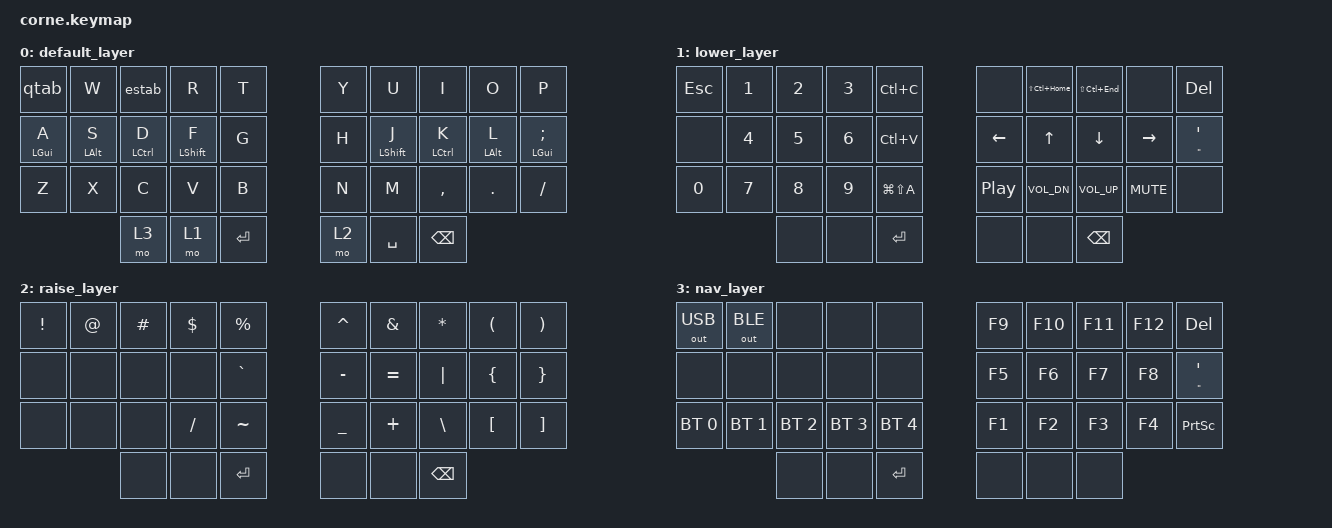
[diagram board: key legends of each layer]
#include <behaviors.dtsi>
#include <dt-bindings/zmk/keys.h>
#include <dt-bindings/zmk/bt.h>
#include <dt-bindings/zmk/outputs.h>


&mt {
    tapping-term-ms = <400>;
    retro-tap;
};

/ {
        combos {
            compatible = "zmk,combos";
            combo_btclr {
                timeout-ms = <500>;
                key-positions = <2 3 4>;
                bindings = <&bt BT_CLR>;
            };
            combo_tab {
                timeout-ms = <50>;
                key-positions = <0 1>;
                bindings = <&kp TAB>;
            };
            combo_bksp {
                timeout-ms = <30>;
                key-positions = <8 9>;
                bindings = <&kp BKSP>;
                slow-release;
            };
        };
        behaviors {
            hm: homerow_mods {
                compatible = "zmk,behavior-hold-tap";
                label = "HOMEROW_MODS";
                #binding-cells = <2>;
                tapping-term-ms = <300>;
                quick_tap_ms = <0>;
                flavor = "tap-preferred";
                bindings = <&kp>, <&kp>;
            };
            qtab: qtab_mod {
                compatible = "zmk,behavior-mod-morph";
                label = "qtab";
                #binding-cells = <0>;
                bindings = <&kp Q>, <&kp LS(TAB)>;
                mods = <(MOD_LALT)>;
            };
            estab: estab_mod {
                compatible = "zmk,behavior-mod-morph";
                label = "estab";
                #binding-cells = <0>;
                bindings = <&kp E>, <&kp TAB>;
                mods = <(MOD_LALT)>;
            };
        };
        keymap {
                compatible = "zmk,keymap";

                default_layer {
// -----------------------------------------------------------------------------------------
// |  Q  |  W  |  E  |  R  |  T  |   |  Y  |  U   |  I  |  O  |  P  |
// |  A  |  S  |  D  |  F  |  G  |   |  H  |  J   |  K  |  L  |  ;  |
// |  Z  |  X  |  C  |  V  |  B  |   |  N  |  M   |  ,  |  .  |  /  |
//                    | ALT | LWR | ENT |   | RSE | SPC  | GUI |
                        bindings = <
   &qtab      &kp W      &estab      &kp R        &kp T        &kp Y  &kp U       &kp I       &kp O        &kp P    
   &hm LGUI A &hm LALT S &hm LCTRL D &hm LSHFT F  &kp G        &kp H  &hm LSHFT J &hm LCTRL K &hm LALT L   &hm LGUI SEMI
   &kp Z      &kp X      &kp C       &kp V        &kp B        &kp N  &kp M       &kp COMMA   &kp DOT      &kp FSLH 
                                  &mo 3  &mo 1  &kp RET        &mo 2 &kp SPACE &kp BSPC
                        >;
                };

                lower_layer {
// -----------------------------------------------------------------------------------------
// |  Q  |  W  |  E  |  R  |  T  |   |  Y  |  U   |  I  |  O  |  P  |
// |  A  |  S  |  D  |  F  |  G  |   |  H  |  J   |  K  |  L  |  ;  |
// |  Z  |  X  |  C  |  V  |  B  |   |  N  |  M   |  ,  |  .  |  /  |
//                    | ALT | LWR | ENT |   | RSE | SPC  | GUI |
                        bindings = <
   &kp ESC &kp N1  &kp N2  &kp N3 &kp LC(C)           &none     &kp LS(LC(HOME))  &kp LS(LC(END))   &none        &kp DEL
   &none   &kp N4  &kp N5  &kp N6 &kp LC(V)           &kp LEFT  &kp UP            &kp DOWN          &kp RIGHT    &hm DQT SQT 
   &kp N0  &kp N7  &kp N8  &kp N9 &kp LG(LS(A))       &kp C_PP  &kp C_VOL_DN      &kp C_VOL_UP      &kp C_MUTE   &none
                      &none  &none  &kp RET           &none  &none  &kp BSPC 
                        >;
                };

                raise_layer {
// -----------------------------------------------------------------------------------------
// |  Q  |  W  |  E  |  R  |  T  |   |  Y  |  U   |  I  |  O  |  P  |
// |  A  |  S  |  D  |  F  |  G  |   |  H  |  J   |  K  |  L  |  ;  |
// |  Z  |  X  |  C  |  V  |  B  |   |  N  |  M   |  ,  |  .  |  /  |
//                    | ALT | LWR | ENT |   | RSE | SPC  | GUI |
                        bindings = <
   &kp EXCL &kp AT &kp HASH &kp DLLR &kp PRCNT        &kp CARET &kp AMPS  &kp STAR &kp LPAR &kp RPAR   
   &none    &none  &none    &none    &kp GRAVE        &kp MINUS &kp EQUAL &kp PIPE &kp LBRC &kp RBRC
   &none    &none  &none    &kp FSLH &kp TILDE        &kp UNDER &kp PLUS  &kp BSLH &kp LBKT &kp RBKT
                         &none  &none  &kp RET        &none &none  &kp BSPC
                        >;
                };

                nav_layer {
// -----------------------------------------------------------------------------------------
// |  Q  |  W  |  E  |  R  |  T  |   |  Y  |  U   |  I  |  O  |  P  |
// |  A  |  S  |  D  |  F  |  G  |   |  H  |  J   |  K  |  L  |  ;  |
// |  Z  |  X  |  C  |  V  |  B  |   |  N  |  M   |  ,  |  .  |  /  |
//                    | ALT | LWR | ENT |   | RSE | SPC  | GUI |
                        bindings = <
   &out OUT_USB  &out OUT_BLE  &none         &none           &none               &kp F9  &kp F10 &kp F11 &kp F12 &kp DEL     
   &none         &none         &none         &none           &none               &kp F5  &kp F6  &kp F7  &kp F8  &hm DQT SQT 
   &bt BT_SEL 0  &bt BT_SEL 1  &bt BT_SEL 2  &bt BT_SEL 3    &bt BT_SEL 4        &kp F1  &kp F2  &kp F3  &kp F4  &kp PSCRN   
                                                &none  &none  &kp RET           &none  &none &none
                        >;
                };
        };
};

